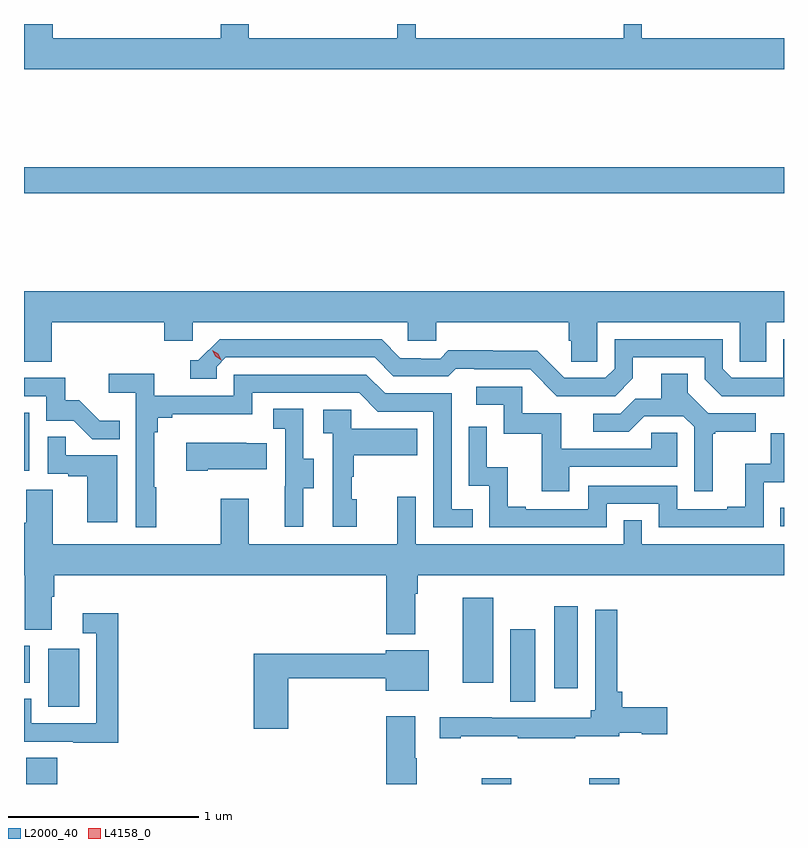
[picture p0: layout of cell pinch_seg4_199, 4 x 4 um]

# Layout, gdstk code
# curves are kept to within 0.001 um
import gdstk
lib = gdstk.Library(unit=1e-6, precision=1e-09)
def R(c, l, rs):  # rectangles x0, y0, x1, y1
    for r in rs: c.add(gdstk.rectangle(r[:2], r[2:], *l))
def P(c, l, *ps):  # polygons
    for p in ps: c.add(gdstk.Polygon(p, *l))
L2000_40 = (2000, 40)
L4158_0 = (4158, 0)

pinch_seg4_199 = lib.new_cell('pinch_seg4_199')
R(pinch_seg4_199, L2000_40, [(975.989,813.038,976.154,813.176), (978.388,813.038,978.543,813.067), (978.952,813.038,979.112,813.067), (976.106,813.444,976.27,813.751), (978.536,813.472,978.67,813.853), (978.77,813.543,978.892,813.973), (978.287,813.57,978.448,814.018), (975.978,813.571,976.008,813.765), (979.957,814.395,979.978,814.492), (975.978,814.686,976.006,814.993), (975.978,816.148,979.978,816.284)])
P(pinch_seg4_199, L2000_40, [(979.978,816.964),(979.23,816.964),(979.23,817.038),(979.134,817.038),(979.134,816.964),(978.039,816.964),(978.039,817.038),(977.942,817.038),(977.942,816.964),(977.161,816.964),(977.161,817.038),(977.014,817.038),(977.014,816.964),(976.129,816.964),(976.129,817.038),(975.978,817.038),(975.978,816.8),(979.978,816.8)],
  [(976.124,815.468),(976.715,815.468),(976.715,815.37),(976.866,815.37),(976.866,815.468),(977.997,815.468),(977.997,815.37),(978.147,815.37),(978.147,815.468),(978.845,815.468),(978.845,815.37),(978.859,815.37),(978.859,815.26),(978.996,815.26),(978.996,815.468),(979.746,815.468),(979.746,815.26),(979.885,815.26),(979.885,815.468),(979.978,815.468),(979.978,815.632),(975.978,815.632),(975.978,815.26),(976.124,815.26)],
  [(979.978,815.379),(979.974,815.379),(979.974,815.175),(979.704,815.175),(979.656,815.223),(979.656,815.379),(979.086,815.379),(979.086,815.223),(979.038,815.175),(978.822,815.175),(978.68,815.317),(978.444,815.317),(978.444,815.32),(978.211,815.32),(978.169,815.277),(978.066,815.277),(978.066,815.28),(977.959,815.28),(977.86,815.379),(977.007,815.379),(976.896,815.268),(976.853,815.268),(976.853,815.172),(976.992,815.172),(976.992,815.235),(977.04,815.283),(977.823,815.283),(977.922,815.184),(978.211,815.184),(978.25,815.223),(978.349,815.223),(978.349,815.22),(978.642,815.22),(978.783,815.079),(979.089,815.079),(979.183,815.173),(979.183,815.283),(979.56,815.283),(979.56,815.169),(979.65,815.079),(979.978,815.078)],
  [(976.675,814.601),(976.663,814.601),(976.663,814.889),(976.682,814.889),(976.682,814.966),(976.759,814.966),(976.759,814.985),(977.178,814.985),(977.178,815.097),(977.742,815.097),(977.841,814.998),(978.132,814.998),(978.132,814.389),(978.341,814.389),(978.341,814.485),(978.228,814.485),(978.228,815.094),(977.878,815.094),(977.779,815.193),(977.082,815.193),(977.082,815.082),(976.664,815.082),(976.664,815.198),(976.425,815.198),(976.425,815.096),(976.566,815.096),(976.566,814.389),(976.675,814.389)],
  [(979.603,814.881),(979.615,814.881),(979.615,814.892),(979.828,814.892),(979.828,814.989),(979.578,814.989),(979.471,815.096),(979.471,815.198),(979.331,815.198),(979.331,815.066),(979.196,815.066),(979.116,814.986),(978.975,814.986),(978.975,814.893),(979.162,814.893),(979.243,814.974),(979.449,814.974),(979.506,814.917),(979.506,814.578),(979.603,814.578)],
  [(976.481,814.951),(976.377,814.951),(976.27,815.058),(976.194,815.058),(976.194,815.175),(975.978,815.175),(975.978,815.079),(976.095,815.079),(976.095,814.95),(976.239,814.95),(976.337,814.852),(976.481,814.852)],
  [(978.847,814.707),(979.416,814.707),(979.416,814.887),(979.279,814.887),(979.279,814.803),(978.805,814.803),(978.805,814.989),(978.6,814.989),(978.6,815.13),(978.357,815.13),(978.357,815.034),(978.504,815.034),(978.504,814.881),(978.703,814.881),(978.703,814.578),(978.847,814.578)],
  [(977.449,814.594),(977.503,814.594),(977.503,814.749),(977.448,814.749),(977.448,815.012),(977.289,815.012),(977.289,814.909),(977.352,814.909),(977.352,814.605),(977.351,814.605),(977.351,814.392),(977.449,814.392)],
  [(977.728,814.536),(977.703,814.536),(977.703,814.655),(977.713,814.655),(977.713,814.769),(978.047,814.769),(978.047,814.909),(977.7,814.909),(977.7,815.007),(977.553,815.007),(977.553,814.883),(977.604,814.883),(977.604,814.392),(977.728,814.392)],
  [(979.044,814.512),(979.32,814.512),(979.32,814.389),(979.872,814.389),(979.872,814.625),(979.978,814.625),(979.978,814.884),(979.908,814.884),(979.908,814.723),(979.775,814.723),(979.775,814.498),(979.679,814.498),(979.679,814.485),(979.416,814.485),(979.416,814.608),(978.948,814.608),(978.948,814.485),(978.619,814.485),(978.619,814.498),(978.524,814.498),(978.524,814.706),(978.414,814.706),(978.414,814.918),(978.318,814.918),(978.318,814.608),(978.426,814.608),(978.426,814.389),(979.044,814.389)],
  [(976.468,814.767),(976.199,814.767),(976.199,814.865),(976.104,814.865),(976.104,814.671),(976.211,814.671),(976.211,814.659),(976.31,814.659),(976.31,814.416),(976.468,814.416)],
  [(976.945,814.694),(977.255,814.694),(977.255,814.831),(977.147,814.831),(977.147,814.834),(976.833,814.834),(976.833,814.687),(976.945,814.687)],
  [(978.037,814.04),(978.05,814.04),(978.05,814.136),(979.978,814.136),(979.978,814.3),(979.23,814.3),(979.23,814.427),(979.134,814.427),(979.134,814.3),(978.039,814.3),(978.039,814.549),(977.942,814.549),(977.942,814.3),(977.161,814.3),(977.161,814.54),(977.014,814.54),(977.014,814.3),(976.129,814.3),(976.129,814.586),(975.989,814.586),(975.989,814.412),(975.978,814.412),(975.978,814.136),(975.983,814.136),(975.983,813.85),(976.123,813.85),(976.123,814.024),(976.136,814.024),(976.136,814.136),(977.885,814.136),(977.885,813.827),(978.037,813.827)],
  [(978.277,813.289),(978.577,813.289),(978.577,813.279),(978.878,813.279),(978.878,813.289),(979.11,813.289),(979.11,813.308),(979.23,813.308),(979.23,813.301),(979.363,813.301),(979.363,813.443),(979.127,813.443),(979.127,813.523),(979.1,813.523),(979.1,813.955),(978.984,813.955),(978.984,813.426),(978.962,813.426),(978.962,813.387),(978.44,813.387),(978.44,813.389),(978.165,813.389),(978.165,813.279),(978.277,813.279)],
  [(976.475,813.937),(976.287,813.937),(976.287,813.831),(976.359,813.831),(976.359,813.357),(976.017,813.357),(976.017,813.486),(975.978,813.486),(975.978,813.261),(976.237,813.261),(976.237,813.256),(976.475,813.256)],
  [(977.369,813.595),(977.882,813.595),(977.882,813.53),(978.109,813.53),(978.109,813.742),(977.882,813.742),(977.882,813.724),(977.186,813.724),(977.186,813.33),(977.369,813.33)],
  [(978.045,813.173),(978.037,813.173),(978.037,813.394),(977.885,813.394),(977.885,813.038),(978.045,813.038)])
P(pinch_seg4_199, L4158_0, [(977.016,815.269),(976.985,815.289),(976.969,815.321),(976.969,815.322),(976.969,815.322),(977,815.302),(977.016,815.269),(977.016,815.269)])

lib.write_gds('pinch_seg4_199.gds')
